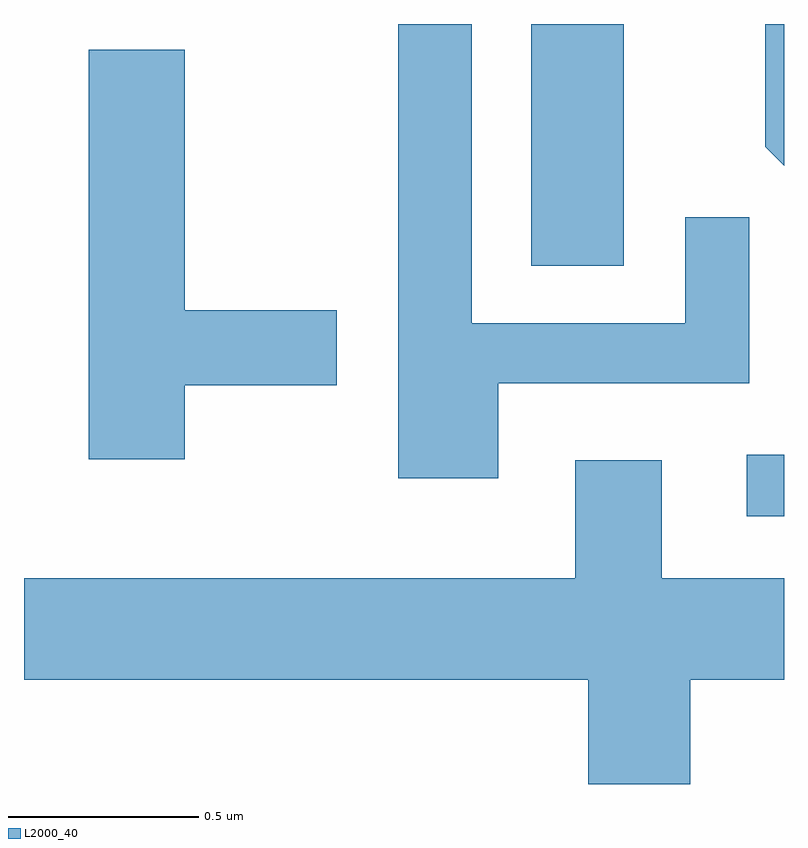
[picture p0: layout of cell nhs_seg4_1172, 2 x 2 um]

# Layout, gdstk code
import gdstk
lib = gdstk.Library(unit=1e-6, precision=1e-09)
def R(c, l, rs):  # rectangles x0, y0, x1, y1
    for r in rs: c.add(gdstk.rectangle(r[:2], r[2:], *l))
def P(c, l, *ps):  # polygons
    for p in ps: c.add(gdstk.Polygon(p, *l))
L2000_40 = (2000, 40)

nhs_seg4_1172 = lib.new_cell('nhs_seg4_1172')
R(nhs_seg4_1172, L2000_40, [(195.513,1330.686,195.611,1330.849), (194.946,1331.346,195.189,1331.982)])
P(nhs_seg4_1172, L2000_40, [(194.859,1331.036),(195.519,1331.036),(195.519,1331.473),(195.351,1331.473),(195.351,1331.194),(194.789,1331.194),(194.789,1331.982),(194.596,1331.982),(194.596,1330.786),(194.859,1330.786)],
  [(195.611,1331.982),(195.561,1331.982),(195.561,1331.659),(195.611,1331.609)],
  [(194.034,1331.031),(194.434,1331.031),(194.434,1331.229),(194.034,1331.229),(194.034,1331.914),(193.781,1331.914),(193.781,1330.836),(194.034,1330.836)],
  [(195.364,1330.256),(195.611,1330.256),(195.611,1330.524),(195.289,1330.524),(195.289,1330.834),(195.061,1330.834),(195.061,1330.524),(193.611,1330.524),(193.611,1330.256),(195.096,1330.256),(195.096,1329.982),(195.364,1329.982)])

lib.write_gds('nhs_seg4_1172.gds')
